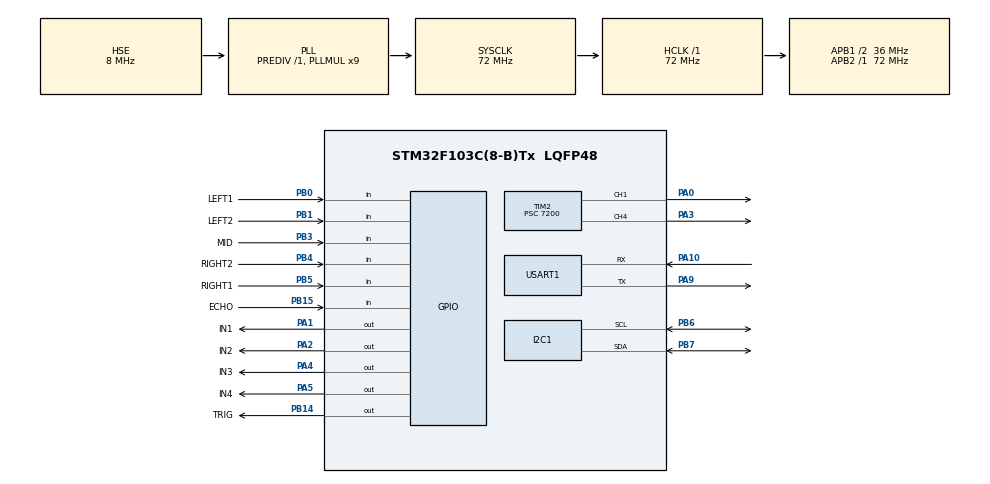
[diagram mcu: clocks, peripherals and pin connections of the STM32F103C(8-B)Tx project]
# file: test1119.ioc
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Mcu.Family=STM32F1
Mcu.Name=STM32F103C(8-B)Tx
Mcu.Package=LQFP48
NVIC.PriorityGroup=NVIC_PRIORITYGROUP_4
NVIC.USART1_IRQn=true\:0\:0\:false\:false\:true\:true\:true
PA0-WKUP.Signal=S_TIM2_CH1_ETR
PA1.GPIO_Label=IN1
PA1.GPIO_Speed=GPIO_SPEED_FREQ_HIGH
PA1.PinState=GPIO_PIN_SET
PA1.Signal=GPIO_Output
PA10.Mode=Asynchronous
PA10.Signal=USART1_RX
PA13.Mode=Serial_Wire
PA13.Signal=SYS_JTMS-SWDIO
PA14.Mode=Serial_Wire
PA14.Signal=SYS_JTCK-SWCLK
PA2.GPIO_Label=IN2
PA2.GPIO_Speed=GPIO_SPEED_FREQ_HIGH
PA2.Signal=GPIO_Output
PA3.Signal=S_TIM2_CH4
PA4.GPIO_Label=IN3
PA4.GPIO_Speed=GPIO_SPEED_FREQ_HIGH
PA4.PinState=GPIO_PIN_SET
PA4.Signal=GPIO_Output
PA5.GPIO_Label=IN4
PA5.GPIO_Speed=GPIO_SPEED_FREQ_HIGH
PA5.Signal=GPIO_Output
PA9.Mode=Asynchronous
PA9.Signal=USART1_TX
PB0.GPIO_Label=LEFT1
PB0.GPIO_PuPd=GPIO_PULLDOWN
PB0.Signal=GPIO_Input
PB1.GPIO_Label=LEFT2
PB1.GPIO_PuPd=GPIO_PULLDOWN
PB1.Signal=GPIO_Input
PB14.GPIO_Label=TRIG
PB14.Signal=GPIO_Output
PB15.GPIO_Label=ECHO
PB15.Signal=GPIO_Input
PB3.GPIO_Label=MID
PB3.GPIO_PuPd=GPIO_PULLDOWN
PB3.Signal=GPIO_Input
PB4.GPIO_Label=RIGHT2
PB4.GPIO_PuPd=GPIO_PULLDOWN
PB4.Signal=GPIO_Input
PB5.GPIO_Label=RIGHT1
PB5.GPIO_PuPd=GPIO_PULLDOWN
PB5.Signal=GPIO_Input
PB6.Mode=I2C
PB6.Signal=I2C1_SCL
PB7.Mode=I2C
PB7.Signal=I2C1_SDA
PC14-OSC32_IN.Mode=LSE-External-Oscillator
PC14-OSC32_IN.Signal=RCC_OSC32_IN
PC15-OSC32_OUT.Mode=LSE-External-Oscillator
PC15-OSC32_OUT.Signal=RCC_OSC32_OUT
PD0-OSC_IN.Mode=HSE-External-Oscillator
PD0-OSC_IN.Signal=RCC_OSC_IN
PD1-OSC_OUT.Mode=HSE-External-Oscillator
PD1-OSC_OUT.Signal=RCC_OSC_OUT
ProjectManager.HeapSize=0x200
ProjectManager.StackSize=0x400
ProjectManager.TargetToolchain=MDK-ARM V5
RCC.AHBFreq_Value=72000000
RCC.APB1CLKDivider=RCC_HCLK_DIV2
RCC.APB1Freq_Value=36000000
RCC.APB1TimFreq_Value=72000000
RCC.APB2Freq_Value=72000000
RCC.APB2TimFreq_Value=72000000
RCC.HCLKFreq_Value=72000000
RCC.PLLMUL=RCC_PLL_MUL9
RCC.PLLSourceVirtual=RCC_PLLSOURCE_HSE
RCC.SYSCLKFreq_VALUE=72000000
RCC.SYSCLKSource=RCC_SYSCLKSOURCE_PLLCLK
RCC.USBFreq_Value=72000000
SH.S_TIM2_CH1_ETR.0=TIM2_CH1,PWM Generation1 CH1
SH.S_TIM2_CH4.0=TIM2_CH4,PWM Generation4 CH4
TIM1.Period=10000-1
TIM1.Prescaler=7200
TIM2.Channel-PWM\ Generation1\ CH1=TIM_CHANNEL_1
TIM2.Channel-PWM\ Generation4\ CH4=TIM_CHANNEL_4
TIM2.Period=10000-1
TIM2.Prescaler=7200
USART1.VirtualMode=VM_ASYNC
VP_TIM1_VS_ClockSourceINT.Mode=Internal
VP_TIM2_VS_ClockSourceINT.Mode=Internal
board=custom

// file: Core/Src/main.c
/* USER CODE BEGIN Header */
/**
  ******************************************************************************
  * @file           : main.c
  * @brief          : Main program body
  ******************************************************************************
  * @attention
  *
  * <h2><center>&copy; Copyright (c) 2025 STMicroelectronics.
  * All rights reserved.</center></h2>
  *
  * This software component is licensed by ST under BSD 3-Clause license,
  * the "License"; You may not use this file except in compliance with the
  * License. You may obtain a copy of the License at:
  *                        opensource.org/licenses/BSD-3-Clause
  *
  * stm32f103_car_v1.0智能小车，连接了两个L298N、两个电机、一个超声波模块、五个红外模块、一个蓝牙模块、一块四线OLED屏幕。
  * 拥有超声波避障、循迹寻线、OLED显示等功能。
  *
  * 硬件连接：
  * - PA0、PA3: L298N驱动模块的PWM输入端(INA/INB)
  * - PA1、PA2、PA4、PA5: L298N驱动模块的输入端(IN1/IN2/IN3/IN4)
  * - PB0、PB1、PB3、PB4、PB5: 红外循迹传感器(左外/左内/中间/右内/右外)
  * - PB14、PB15: 超声波模块(TRIG/ECHO)
  * - PB6、PB7: OLED屏幕(SCL/SDA)
  * - PA9、PA10: 蓝牙模块HC-05(TX/RX)

  *
  ******************************************************************************
  */
/* USER CODE END Header */
#include "main.h"
#include "i2c.h"
#include "tim.h"
#include "usart.h"
#include "gpio.h"

/* USER CODE BEGIN Includes */
#include "oled.h"
#include <string.h>
#include <stdio.h>
/* USER CODE END Includes */

/* USER CODE BEGIN PTD */
// PID控制器结构体（添加积分项）
typedef struct{
	float Kp;           // 比例系数
	float Ki;           // 积分系数
	float Kd;           // 微分系数
	int error;          // 当前误差
	int last_error;     // 上次误差
	float integral;     // 误差积分
	int output;         // PID输出
}PID_Controller;

// 运行模式枚举
typedef enum{
	MODE_STOP = 0,      // 停止模式
	MODE_LINE_TRACK,    // 循迹模式（含自动避障）
	MODE_MANUAL,        // 手动模式（蓝牙控制）
	MODE_AVOID          // 避障模式（独立使用，已集成至循迹模式）
}RunMode;

// 运动方向枚举
typedef enum {
	DIR_STOP = 0,
	DIR_FORWARD,
	DIR_BACKWARD,
	DIR_LEFT,
	DIR_RIGHT
} Direction;

// 车速等级枚举
typedef enum {
	SPEED_SLOW = 0,    // 慢速
	SPEED_MEDIUM,      // 中速
	SPEED_FAST         // 快速
} SpeedLevel;

// 系统状态结构体
typedef struct {
	Direction direction;      // 当前运动方向
	SpeedLevel speed_level;   // 车速等级
	uint16_t station_count;   // 停靠站点数
	uint8_t countdown;        // 倒计时（秒）
	uint8_t is_stopped;       // 是否停靠中
} SystemStatus;
/* USER CODE END PTD */

/* USER CODE BEGIN PD */
// PWM占空比定义（0-9999）
#define PWM_SPEED_MAX    4300   // 最大速度：43%

// 循迹基础速度
#define BASE_SPEED       3500   // 循迹基础速度：35%

// PID参数（根据STM32 PWM范围调整）
#define KP               45.0f  // 比例系数（调整为适合0-9999范围）
#define KI               0.05f  // 积分系数（小值，避免积分饱和）
#define KD               30.0f  // 微分系数（增大以抑制震荡）

// 积分限幅（防止积分饱和）
#define INTEGRAL_MAX     200.0f

// 红外传感器权重（根据STM32 PWM范围调整）
// 权重需要与PWM范围匹配，使得调整量在合理范围内
// 左外(-800) 左内(-80) 中间(0) 右内(80) 右外(800)
#define WEIGHT_LEFT_OUT  -220
#define WEIGHT_LEFT_IN   -200
#define WEIGHT_MID        0
#define WEIGHT_RIGHT_IN   200
#define WEIGHT_RIGHT_OUT  220

// 超声波测距参数
#define ULTRASONIC_TIMEOUT  30000   // 超时时间（微秒）：对应最大距离约5米
#define SOUND_SPEED         0.034f  // 声速：0.034 cm/us (340m/s)

// 避障参数
#define SAFE_DISTANCE       10.0f   // 安全距离（cm）
#define TURN_90_TIME        600     // 90度转向时间（ms）
#define FORWARD_TIME        1000    // 避障前进时间（ms）
#define MAX_AVOID_DEPTH     3       // 最大递归避障次数
/* USER CODE END PD */

/* USER CODE BEGIN PV */
// PID控制器实例
PID_Controller pid = {KP, KI, KD, 0, 0, 0.0f, 0};

// 运行模式
RunMode current_mode = MODE_LINE_TRACK;  // 默认循迹模式

// 蓝牙接收缓冲区
uint8_t bt_rx_buffer[1];
uint8_t bt_command = 0;

// 多字符命令缓冲区（用于接收STxx等命令）
#define CMD_BUFFER_SIZE 10
char cmd_buffer[CMD_BUFFER_SIZE];
uint8_t cmd_index = 0;
uint32_t last_rx_time = 0;

// 超声波测距变量
float ultrasonic_distance = 0.0f;  // 当前测量距离（cm）

// 避障状态变量
uint8_t is_avoiding = 0;           // 是否正在避障
uint8_t avoid_depth = 0;           // 当前避障递归深度

// 系统状态实例
SystemStatus sys_status = {DIR_STOP, SPEED_MEDIUM, 0, 0, 0};

// 站点停靠时间（秒），可通过上位机设置
uint8_t stop_time_seconds = 10;
/* USER CODE END PV */

void SystemClock_Config(void);
/* USER CODE BEGIN PFP */
// 电机控制函数
void Motor_Stop(void);
void Motor_Forward(uint16_t speed);
void Motor_Backward(uint16_t speed);
void Motor_TurnLeft(uint16_t speed);
void Motor_TurnRight(uint16_t speed);
void Motor_DifferentialSpeed(int16_t left_speed, int16_t right_speed);

// 红外传感器读取函数
int8_t Read_IR_Sensors(void);
int Calculate_Error(void);

// PID控制函数（添加积分项）
void PID_Init(PID_Controller *pid, float kp, float ki, float kd);
int PID_Calculate(PID_Controller *pid, int error);
void Line_Tracking_PID(void);

// 站点停靠函数（已废弃，使用Station_Stop_With_Countdown代替）
// void Station_Stop(uint8_t stop_seconds);

// 蓝牙控制函数
void Bluetooth_Init(void);
void Bluetooth_Process(void);
void Process_Multi_Char_Command(void);
void HAL_UART_RxCpltCallback(UART_HandleTypeDef *huart);

// 超声波测距函数
float Ultrasonic_GetDistance(void);
void Ultrasonic_SendDebugInfo(void);

// 串口发送函数
void UART_SendString(const char *str);

// OLED显示函数
void OLED_UpdateStatus(void);
uint16_t Get_Speed_Percent(SpeedLevel level);
uint16_t Get_Speed_Value(SpeedLevel level);
void Station_Stop_With_Countdown(uint8_t stop_time);

// 避障函数
uint8_t Execute_Avoidance_Maneuver(void);
void Line_Tracking_With_Avoidance(void);
/* USER CODE END PFP */

/* USER CODE BEGIN 0 */

/**
  * @brief  停止电机
  * @retval None
  */
void Motor_Stop(void)
{
	// 停止PWM输出
	__HAL_TIM_SET_COMPARE(&htim2, TIM_CHANNEL_1, 0);
	__HAL_TIM_SET_COMPARE(&htim2, TIM_CHANNEL_4, 0);

	// 所有方向控制引脚设为低电平
	HAL_GPIO_WritePin(GPIOA, IN1_Pin, GPIO_PIN_RESET);
	HAL_GPIO_WritePin(GPIOA, IN2_Pin, GPIO_PIN_RESET);
	HAL_GPIO_WritePin(GPIOA, IN3_Pin, GPIO_PIN_RESET);
	HAL_GPIO_WritePin(GPIOA, IN4_Pin, GPIO_PIN_RESET);

	// 更新状态
	sys_status.direction = DIR_STOP;
}

/**
  * @brief  前进
  * @param  speed: PWM占空比 (0-9999)
  * @retval None
  */
void Motor_Forward(uint16_t speed)
{
	// 左电机正转：IN1=1, IN2=0
	HAL_GPIO_WritePin(GPIOA, IN1_Pin, GPIO_PIN_SET);
	HAL_GPIO_WritePin(GPIOA, IN2_Pin, GPIO_PIN_RESET);

	// 右电机正转：IN3=1, IN4=0
	HAL_GPIO_WritePin(GPIOA, IN3_Pin, GPIO_PIN_SET);
	HAL_GPIO_WritePin(GPIOA, IN4_Pin, GPIO_PIN_RESET);

	// 设置PWM占空比
	__HAL_TIM_SET_COMPARE(&htim2, TIM_CHANNEL_1, speed);
	__HAL_TIM_SET_COMPARE(&htim2, TIM_CHANNEL_4, speed);

	// 更新状态
	sys_status.direction = DIR_FORWARD;
}

/**
  * @brief  后退
  * @param  speed: PWM占空比 (0-9999)
  * @retval None
  */
void Motor_Backward(uint16_t speed)
{
	// 左电机反转：IN1=0, IN2=1
	HAL_GPIO_WritePin(GPIOA, IN1_Pin, GPIO_PIN_RESET);
	HAL_GPIO_WritePin(GPIOA, IN2_Pin, GPIO_PIN_SET);

	// 右电机反转：IN3=0, IN4=1
	HAL_GPIO_WritePin(GPIOA, IN3_Pin, GPIO_PIN_RESET);
	HAL_GPIO_WritePin(GPIOA, IN4_Pin, GPIO_PIN_SET);

	// 设置PWM占空比
	__HAL_TIM_SET_COMPARE(&htim2, TIM_CHANNEL_1, speed);
	__HAL_TIM_SET_COMPARE(&htim2, TIM_CHANNEL_4, speed);

	// 更新状态
	sys_status.direction = DIR_BACKWARD;
}

/**
  * @brief  左转（原地）
  * @param  speed: PWM占空比 (0-9999)
  * @retval None
  */
void Motor_TurnLeft(uint16_t speed)
{
	// 左电机反转：IN1=0, IN2=1
	HAL_GPIO_WritePin(GPIOA, IN1_Pin, GPIO_PIN_RESET);
	HAL_GPIO_WritePin(GPIOA, IN2_Pin, GPIO_PIN_SET);

	// 右电机正转：IN3=1, IN4=0
	HAL_GPIO_WritePin(GPIOA, IN3_Pin, GPIO_PIN_SET);
	HAL_GPIO_WritePin(GPIOA, IN4_Pin, GPIO_PIN_RESET);

	// 设置PWM占空比
	__HAL_TIM_SET_COMPARE(&htim2, TIM_CHANNEL_1, speed);
	__HAL_TIM_SET_COMPARE(&htim2, TIM_CHANNEL_4, speed);

	// 更新状态
	sys_status.direction = DIR_LEFT;
}

/**
  * @brief  右转（原地）
  * @param  speed: PWM占空比 (0-9999)
  * @retval None
  */
void Motor_TurnRight(uint16_t speed)
{
	// 左电机正转：IN1=1, IN2=0
	HAL_GPIO_WritePin(GPIOA, IN1_Pin, GPIO_PIN_SET);
	HAL_GPIO_WritePin(GPIOA, IN2_Pin, GPIO_PIN_RESET);

	// 右电机反转：IN3=0, IN4=1
	HAL_GPIO_WritePin(GPIOA, IN3_Pin, GPIO_PIN_RESET);
	HAL_GPIO_WritePin(GPIOA, IN4_Pin, GPIO_PIN_SET);

	// 设置PWM占空比
	__HAL_TIM_SET_COMPARE(&htim2, TIM_CHANNEL_1, speed);
	__HAL_TIM_SET_COMPARE(&htim2, TIM_CHANNEL_4, speed);

	// 更新状态
	sys_status.direction = DIR_RIGHT;
}

/**
  * @brief  差速控制（左右电机不同速度）
  * @param  left_speed: 左电机速度 (-9999 ~ 9999，负数为反转)
  * @param  right_speed: 右电机速度 (-9999 ~ 9999，负数为反转)
  * @retval None
  */
void Motor_DifferentialSpeed(int16_t left_speed, int16_t right_speed)
{
	// 限幅
	if(left_speed > PWM_SPEED_MAX) left_speed = PWM_SPEED_MAX;
	if(left_speed < -PWM_SPEED_MAX) left_speed = -PWM_SPEED_MAX;
	if(right_speed > PWM_SPEED_MAX) right_speed = PWM_SPEED_MAX;
	if(right_speed < -PWM_SPEED_MAX) right_speed = -PWM_SPEED_MAX;

	// 左电机方向控制
	if(left_speed >= 0)
	{
		// 正转
		HAL_GPIO_WritePin(GPIOA, IN1_Pin, GPIO_PIN_SET);
		HAL_GPIO_WritePin(GPIOA, IN2_Pin, GPIO_PIN_RESET);
		__HAL_TIM_SET_COMPARE(&htim2, TIM_CHANNEL_1, left_speed);
	}
	else
	{
		// 反转
		HAL_GPIO_WritePin(GPIOA, IN1_Pin, GPIO_PIN_RESET);
		HAL_GPIO_WritePin(GPIOA, IN2_Pin, GPIO_PIN_SET);
		__HAL_TIM_SET_COMPARE(&htim2, TIM_CHANNEL_1, -left_speed);
	}

	// 右电机方向控制
	if(right_speed >= 0)
	{
		// 正转
		HAL_GPIO_WritePin(GPIOA, IN3_Pin, GPIO_PIN_SET);
		HAL_GPIO_WritePin(GPIOA, IN4_Pin, GPIO_PIN_RESET);
		__HAL_TIM_SET_COMPARE(&htim2, TIM_CHANNEL_4, right_speed);
	}
	else
	{
		// 反转
		HAL_GPIO_WritePin(GPIOA, IN3_Pin, GPIO_PIN_RESET);
		HAL_GPIO_WritePin(GPIOA, IN4_Pin, GPIO_PIN_SET);
		__HAL_TIM_SET_COMPARE(&htim2, TIM_CHANNEL_4, -right_speed);
	}
}

/**
  * @brief  读取红外传感器状态
  * @retval 传感器状态（5位二进制，1表示检测到黑线，0表示白色）
  *         bit4: 左外, bit3: 左内, bit2: 中间, bit1: 右内, bit0: 右外
  */
int8_t Read_IR_Sensors(void)
{
	int8_t sensor_value = 0;

	// 读取五个红外传感器（标准逻辑：黑线=高电平，白色=低电平）
	if(HAL_GPIO_ReadPin(GPIOB, LEFT1_Pin) == GPIO_PIN_SET)  // 左外 PB0
		sensor_value |= 0x10;

	if(HAL_GPIO_ReadPin(GPIOB, LEFT2_Pin) == GPIO_PIN_SET)  // 左内 PB1
		sensor_value |= 0x08;

	if(HAL_GPIO_ReadPin(GPIOB, MID_Pin) == GPIO_PIN_SET)    // 中间 PB3
		sensor_value |= 0x04;

	if(HAL_GPIO_ReadPin(GPIOB, RIGHT2_Pin) == GPIO_PIN_SET) // 右内 PB4
		sensor_value |= 0x02;

	if(HAL_GPIO_ReadPin(GPIOB, RIGHT1_Pin) == GPIO_PIN_SET) // 右外 PB5
		sensor_value |= 0x01;

	return sensor_value;
}

/**
  * @brief  计算位置误差（加权法，根据STM32 PWM范围调整）
  * @retval 位置误差（负数=偏左，正数=偏右）
  */
int Calculate_Error(void)
{
	int8_t sensors = Read_IR_Sensors();
	int error = 0;

	// 使用加权策略计算误差（权重已调整为适合0-9999 PWM范围）
	if(sensors & 0x10) error += WEIGHT_LEFT_OUT;   // 左外 -800
	if(sensors & 0x08) error += WEIGHT_LEFT_IN;    // 左内 -400
	if(sensors & 0x04) error += WEIGHT_MID;        // 中间  0
	if(sensors & 0x02) error += WEIGHT_RIGHT_IN;   // 右内 +400
	if(sensors & 0x01) error += WEIGHT_RIGHT_OUT;  // 右外 +800

	return error;
}

/**
  * @brief  初始化PID控制器
  * @param  pid: PID控制器指针
  * @param  kp: 比例系数
  * @param  ki: 积分系数
  * @param  kd: 微分系数
  * @retval None
  */
void PID_Init(PID_Controller *pid, float kp, float ki, float kd)
{
	pid->Kp = kp;
	pid->Ki = ki;
	pid->Kd = kd;
	pid->error = 0;
	pid->last_error = 0;
	pid->integral = 0.0f;
	pid->output = 0;
}

/**
  * @brief  PID计算（添加积分项和抗饱和机制）
  * @param  pid: PID控制器指针
  * @param  error: 当前误差
  * @retval PID输出值
  */
int PID_Calculate(PID_Controller *pid, int error)
{
	// 保存当前误差
	pid->error = error;

	// 误差接近0时，清空积分（防止积分累积）
	if(error > -10 && error < 10)
	{
		pid->integral *= 0.5f;  // 快速衰减积分
	}
	else
	{
		// 计算积分项（带限幅，防止积分饱和）
		pid->integral += (float)error;
		if(pid->integral > INTEGRAL_MAX) pid->integral = INTEGRAL_MAX;
		if(pid->integral < -INTEGRAL_MAX) pid->integral = -INTEGRAL_MAX;
	}

	// PID计算：output = Kp*error + Ki*integral + Kd*(error - last_error)
	pid->output = (int)(pid->Kp * pid->error +
	                    pid->Ki * pid->integral +
	                    pid->Kd * (pid->error - pid->last_error));

	// 保存误差用于下次计算
	pid->last_error = error;

	return pid->output;
}

/**
  * @brief  执行避障机动（右转90度→斜向前进→回归循迹）
  * @retval 1=需要继续避障, 0=可以返回循迹
  */
uint8_t Execute_Avoidance_Maneuver(void)
{
	uint16_t speed = Get_Speed_Value(sys_status.speed_level);

	// 上报避障开始
	char buffer[50];
	sprintf(buffer, "AVOID:START,DEPTH=%d\r\n", avoid_depth);
	UART_SendString(buffer);

	// 1. 右转90度，绕过障碍物
	Motor_TurnRight(3000);
	sys_status.direction = DIR_RIGHT;
	OLED_UpdateStatus();
	HAL_Delay(TURN_90_TIME);

	// 2. 斜向前进（左速<右速，实现左偏），等待检测到轨道
	while (Read_IR_Sensors() == 0) {
		// 如果前方距离仍然不安全，继续右转
		if(ultrasonic_distance > 0 && ultrasonic_distance < SAFE_DISTANCE)
		{
			Motor_TurnRight(6000);
			sys_status.direction = DIR_RIGHT;
			OLED_UpdateStatus();
			HAL_Delay(TURN_90_TIME);
		}

		// 左电机慢、右电机快，实现斜向左前进
		Motor_DifferentialSpeed(2000, 3000);
	}

	// 3. 回归循迹（已检测到轨道）
	Line_Tracking_PID();

	// 4. 停止并测距
	Motor_Stop();
	HAL_Delay(100);  // 稳定一下

	// 5. 测量新距离
	ultrasonic_distance = Ultrasonic_GetDistance();

	// 6. 判断是否需要继续避障
	if(ultrasonic_distance > 0 && ultrasonic_distance < SAFE_DISTANCE)
	{
		// 距离仍然不安全
		sprintf(buffer, "AVOID:CONTINUE,DIST=%.1f\r\n", ultrasonic_distance);
		UART_SendString(buffer);
		return 1;  // 需要继续避障
	}
	else
	{
		sprintf(buffer, "AVOID:END,DIST=%.1f\r\n", ultrasonic_distance);
		UART_SendString(buffer);
		return 0;  // 返回循迹
	}
}

/**
  * @brief  带避障功能的循迹控制
  * @retval None
  */
void Line_Tracking_With_Avoidance(void)
{
	// 检查是否需要避障（距离小于安全值）
	if(ultrasonic_distance > 0 && ultrasonic_distance < SAFE_DISTANCE && !is_avoiding)
	{
		// 触发避障
		is_avoiding = 1;
		avoid_depth = 0;

		// 停止当前运动
		Motor_Stop();
		HAL_Delay(200);

		// 递归避障，直到安全或达到最大次数
		while(avoid_depth < MAX_AVOID_DEPTH)
		{
			avoid_depth++;

			// 执行避障机动
			uint8_t need_continue = Execute_Avoidance_Maneuver();

			if(!need_continue)
			{
				// 安全了，退出避障
				break;
			}

			// 如果达到最大深度，强制退出
			if(avoid_depth >= MAX_AVOID_DEPTH)
			{
				UART_SendString("AVOID:MAX_DEPTH_REACHED\r\n");
				break;
			}
		}

		// 避障结束，清空PID积分
		pid.integral = 0.0f;
		pid.last_error = 0;

		// 恢复循迹状态
		is_avoiding = 0;
		avoid_depth = 0;

		return;
	}

	// 正常循迹（调用原有的PID循迹函数）
	Line_Tracking_PID();
}

/**
  * @brief  基于PID的循迹控制（添加积分项，优化全白/全黑处理，支持站点停靠，反向清零逻辑）
  * @retval None
  */
void Line_Tracking_PID(void)
{
	int8_t sensors = Read_IR_Sensors();

	// 检测全黑（站点）：停靠指定时间并显示倒计时
	if(sensors == 0x1F)  // 0b11111
	{
		Motor_Stop();
		Motor_Forward(3000);
		HAL_Delay(400);  // 稳定一下
		if (Read_IR_Sensors() == 0x1F) {
		Station_Stop_With_Countdown(stop_time_seconds);  // 使用设置的停靠时间
		}

		return;
	}

	// 检测全白（脱离轨道）：保持上次方向继续运行
	if(sensors == 0x00)  // 0b00000
	{
		// 使用上次的误差继续运行，保持转向
		// 不更新积分项，避免积分发散
		int motor_adjust = (int)(pid.Kp * pid.last_error);

		uint16_t base_speed = Get_Speed_Value(sys_status.speed_level);
		int16_t left_speed = base_speed + motor_adjust;
		int16_t right_speed = base_speed - motor_adjust;

		// 限幅（允许反转）
		if(left_speed > PWM_SPEED_MAX) left_speed = PWM_SPEED_MAX;
		if(left_speed < -PWM_SPEED_MAX) left_speed = -PWM_SPEED_MAX;
		if(right_speed > PWM_SPEED_MAX) right_speed = PWM_SPEED_MAX;
		if(right_speed < -PWM_SPEED_MAX) right_speed = -PWM_SPEED_MAX;

		Motor_DifferentialSpeed(left_speed, right_speed);
		sys_status.direction = DIR_FORWARD;
		return;
	}

	// 正常循迹：计算误差（加权法）
	int error = Calculate_Error();

	// 反向清零逻辑：减少抖动
	// 当小车左转时（上次误差<0），如果右侧传感器检测到黑线，说明已回到轨道，清零误差
	// 当小车右转时（上次误差>0），如果左侧传感器检测到黑线，说明已回到轨道，清零误差
	if(pid.last_error < -20)  // 上次是左转（偏左）
	{
		// 检查右侧传感器（右内或右外）是否检测到黑线
		if(HAL_GPIO_ReadPin(GPIOB, RIGHT2_Pin) == GPIO_PIN_SET || HAL_GPIO_ReadPin(GPIOB, RIGHT1_Pin) == GPIO_PIN_SET)  // 右内(bit1)或右外(bit0)
		{
			// 右侧检测到黑线，说明已经回到轨道，清零误差和积分
			error = 0;
			pid.integral = 0.0f;
			pid.last_error = 0;
		}
	}
	else if(pid.last_error > 20)  // 上次是右转（偏右）
	{
		// 检查左侧传感器（左内或左外）是否检测到黑线
		if(HAL_GPIO_ReadPin(GPIOB, LEFT2_Pin) == GPIO_PIN_SET|| HAL_GPIO_ReadPin(GPIOB, LEFT1_Pin) == GPIO_PIN_SET)  // 左内(bit3)或左外(bit4)
		{
			// 左侧检测到黑线，说明已经回到轨道，清零误差和积分
			error = 0;
			pid.integral = 0.0f;
			pid.last_error = 0;
		}
	}

	// PID计算
	int motor_adjust = PID_Calculate(&pid, error);

	// 根据PID输出调整左右电机速度
	uint16_t base_speed = Get_Speed_Value(sys_status.speed_level);
	int16_t left_speed = base_speed + motor_adjust;
	int16_t right_speed = base_speed - motor_adjust;

	// 限幅（允许反转，实现原地转向）
	if(left_speed > PWM_SPEED_MAX) left_speed = PWM_SPEED_MAX;
	if(left_speed < -PWM_SPEED_MAX) left_speed = -PWM_SPEED_MAX;
	if(right_speed > PWM_SPEED_MAX) right_speed = PWM_SPEED_MAX;
	if(right_speed < -PWM_SPEED_MAX) right_speed = -PWM_SPEED_MAX;

	// 差速控制
	Motor_DifferentialSpeed(left_speed, right_speed);

	// 更新运动方向
	if(error < -20) sys_status.direction = DIR_LEFT;
	else if(error > 20) sys_status.direction = DIR_RIGHT;
	else sys_status.direction = DIR_FORWARD;
}

/**
  * @brief  微秒级延时函数（使用TIM1）
  * @param  us: 延时微秒数
  * @retval None
  */
void delay_us(uint32_t us)
{
	__HAL_TIM_SET_COUNTER(&htim1, 0);  // 设置计数器值为0
	while(__HAL_TIM_GET_COUNTER(&htim1) < us);  // 等待计数器达到us
}

/**
  * @brief  超声波测距函数
  * @retval 距离（cm），如果超时返回-1
  */
float Ultrasonic_GetDistance(void)
{
	uint32_t echo_time = 0;
	uint32_t timeout = 0;

	// 1. 发送10us的触发脉冲
	HAL_GPIO_WritePin(TRIG_GPIO_Port, TRIG_Pin, GPIO_PIN_RESET);
	delay_us(2);
	HAL_GPIO_WritePin(TRIG_GPIO_Port, TRIG_Pin, GPIO_PIN_SET);
	delay_us(10);
	HAL_GPIO_WritePin(TRIG_GPIO_Port, TRIG_Pin, GPIO_PIN_RESET);

	// 2. 等待ECHO引脚变为高电平（超时保护）
	timeout = ULTRASONIC_TIMEOUT;
	while(HAL_GPIO_ReadPin(ECHO_GPIO_Port, ECHO_Pin) == GPIO_PIN_RESET)
	{
		if(--timeout == 0) return -1.0f;  // 超时
	}

	// 3. 开始计时（ECHO高电平持续时间）
	__HAL_TIM_SET_COUNTER(&htim1, 0);

	// 4. 等待ECHO引脚变为低电平（超时保护）
	timeout = ULTRASONIC_TIMEOUT;
	while(HAL_GPIO_ReadPin(ECHO_GPIO_Port, ECHO_Pin) == GPIO_PIN_SET)
	{
		if(--timeout == 0) return -1.0f;  // 超时
		if(__HAL_TIM_GET_COUNTER(&htim1) > ULTRASONIC_TIMEOUT) return -1.0f;  // 超时
	}

	// 5. 读取计时器值
	echo_time = __HAL_TIM_GET_COUNTER(&htim1);

	// 6. 计算距离：distance = (echo_time * sound_speed) / 2
	// echo_time单位：微秒，sound_speed = 0.034 cm/us
	// 除以2是因为声波往返
	float distance = (echo_time * SOUND_SPEED) / 2.0f;

	return distance;
}

/**
  * @brief  串口发送字符串
  * @param  str: 要发送的字符串
  * @retval None
  */
void UART_SendString(const char *str)
{
	HAL_UART_Transmit(&huart1, (uint8_t*)str, strlen(str), 1000);
}

/**
  * @brief  发送超声波调试信息到串口
  * @retval None
  */
void Ultrasonic_SendDebugInfo(void)
{
	char buffer[100];

	// 测量距离
	ultrasonic_distance = Ultrasonic_GetDistance();

	// 格式化输出
	if(ultrasonic_distance < 0)
	{
		sprintf(buffer, "Distance: ERROR (Timeout)\r\n");
	}
	else
	{
		sprintf(buffer, "Distance: %.2f cm\r\n", ultrasonic_distance);
	}

	// 发送到串口
	UART_SendString(buffer);
}

/**
  * @brief  获取速度百分比
  * @param  level: 速度等级
  * @retval 速度百分比
  */
uint16_t Get_Speed_Percent(SpeedLevel level)
{
	switch(level)
	{
		case SPEED_SLOW:   return 30;
		case SPEED_MEDIUM: return 35;
		case SPEED_FAST:   return 40;
		default:           return 0;
	}
}

/**
  * @brief  获取速度值
  * @param  level: 速度等级
  * @retval PWM速度值
  */
uint16_t Get_Speed_Value(SpeedLevel level)
{
	switch(level)
	{
		case SPEED_SLOW:   return 3000;    // 30%
		case SPEED_MEDIUM: return 3500;    // 35%
		case SPEED_FAST:   return 4500;    // 45%
		default:           return 0;
	}
}

/**
  * @brief  更新OLED显示状态
  * @retval None
  */
void OLED_UpdateStatus(void)
{
	OLED_NewFrame();
	char buffer[32];

	// 第1行：运动方向
	const char* dir_str[] = {"STOP", "FORWARD", "BACK", "LEFT", "RIGHT"};
	sprintf(buffer, "Dir: %s", dir_str[sys_status.direction]);
	OLED_PrintASCIIString(0, 0, buffer, &afont8x6, OLED_COLOR_NORMAL);

	// 第2行：车速等级
	const char* speed_str[] = {"SLOW", "MID", "FAST"};
	uint16_t speed_percent = Get_Speed_Percent(sys_status.speed_level);
	sprintf(buffer, "Speed:%s %d%%", speed_str[sys_status.speed_level], speed_percent);
	OLED_PrintASCIIString(0, 16, buffer, &afont8x6, OLED_COLOR_NORMAL);

	// 第3行：站点数量
	sprintf(buffer, "Stations: %d", sys_status.station_count);
	OLED_PrintASCIIString(0, 32, buffer, &afont8x6, OLED_COLOR_NORMAL);

	// 第4行：倒计时（仅停靠时显示）
	if(sys_status.is_stopped)
	{
		sprintf(buffer, "Countdown: %ds", sys_status.countdown);
		OLED_PrintASCIIString(0, 48, buffer, &afont8x6, OLED_COLOR_NORMAL);
	}
	else if(is_avoiding)
	{
		// 显示避障状态
		sprintf(buffer, "AVOID D=%d", avoid_depth);
		OLED_PrintASCIIString(0, 48, buffer, &afont8x6, OLED_COLOR_NORMAL);
	}
	else
	{
		// 显示超声波距离
		if(ultrasonic_distance > 0)
		{
			sprintf(buffer, "Dist: %.1fcm", ultrasonic_distance);
			OLED_PrintASCIIString(0, 48, buffer, &afont8x6, OLED_COLOR_NORMAL);
		}
	}

	OLED_ShowFrame();
}

/**
  * @brief  站点停靠（带倒计时）
  * @param  stop_time: 停靠时间（秒）
  * @retval None
  */
void Station_Stop_With_Countdown(uint8_t stop_time)
{
	Motor_Stop();
	sys_status.is_stopped = 1;
	sys_status.station_count++;  // 站点数+1
	sys_status.direction = DIR_STOP;

	// 上报停靠状态
	char buffer[64];
	sprintf(buffer, "STATUS=STOP,STATION=%d,COUNTDOWN=%d\r\n",sys_status.station_count,stop_time);
	UART_SendString(buffer);

	// 倒计时
	for(uint8_t i = stop_time; i > 0; i--)
	{
		sys_status.countdown = i;

		sprintf(buffer,"STATUS=STOP,STATION=%d,COUNTDOWN=%d\r\n",sys_status.station_count,i);
    UART_SendString(buffer);

		OLED_UpdateStatus();  // 更新显示
		HAL_Delay(1000);  // 延时1秒
	}

	sys_status.is_stopped = 0;
	sys_status.countdown = 0;

	// 清空PID积分
	pid.integral = 0.0f;

	// 恢复前进
	sys_status.direction = DIR_FORWARD;
	Motor_Forward(3000);
	HAL_Delay(600);  // 稳定一下
	UART_SendString("STATUS=FORWARD\r\n");
}

/* USER CODE END 0 */

int main(void)
{

  /* MCU Configuration--------------------------------------------------------*/

  /* Reset of all peripherals, Initializes the Flash interface and the Systick. */
  HAL_Init();

  /* Configure the system clock */
  SystemClock_Config();

  /* Initialize all configured peripherals */
  MX_GPIO_Init();
  MX_TIM1_Init();
  MX_TIM2_Init();
  MX_USART1_UART_Init();
  MX_I2C1_Init();
  /* USER CODE BEGIN 2 */
	// 初始化OLED显示屏
	HAL_Delay(20);
	OLED_Init();

	// 显示启动信息
	OLED_NewFrame();
	OLED_PrintASCIIString(0, 0, "STM32 Car v1.2", &afont8x6, OLED_COLOR_NORMAL);
	OLED_PrintASCIIString(0, 16, "Initializing...", &afont8x6, OLED_COLOR_NORMAL);
	OLED_ShowFrame();

	// 禁用JTAG，释放PB3、PB4引脚作为普通GPIO
	// 保留SWD调试功能（PA13/PA14）
	__HAL_AFIO_REMAP_SWJ_NOJTAG();

	// 启动TIM1（用于超声波微秒延时�?
	HAL_TIM_Base_Start(&htim1);

	// 启动PWM输出
	HAL_TIM_PWM_Start(&htim2, TIM_CHANNEL_1);
	HAL_TIM_PWM_Start(&htim2, TIM_CHANNEL_4);

	// 初始化PID控制器（添加积分项）
	PID_Init(&pid, KP, KI, KD);

	// 初始化蓝牙模�?
	Bluetooth_Init();

	// 初始化电机为停止状�??
	Motor_Stop();

	// 短暂延时，等待系统稳�?
	HAL_Delay(500);

  /* USER CODE END 2 */

  /* Infinite loop */
  while (1)
  {

    /* USER CODE BEGIN 3 */

		// 处理蓝牙命令
		Bluetooth_Process();

		// 根据当前模式执行相应功能
		switch(current_mode)
		{
			case MODE_STOP:
				// 停止模式：什么都不做
				Motor_Stop();
				break;

			case MODE_LINE_TRACK:
				// 循迹模式：执行带避障的PID循迹控制
				Line_Tracking_With_Avoidance();
				break;

			case MODE_MANUAL:
				// 手动模式：由蓝牙命令控制，这里不需要额外处理
				break;

			case MODE_AVOID:
				// 避障模式：预留，暂时停止
				Motor_Stop();
				break;

			default:
				current_mode = MODE_STOP;
				break;
		}

		// 高频状态上报（每100ms，10Hz）
		static uint32_t last_report_time = 0;
		if(HAL_GetTick() - last_report_time >= 100)
		{
			last_report_time = HAL_GetTick();

			// 构建完整状态信息
			char status_buffer[80];
			sprintf(status_buffer, "STATUS:MODE=%d,DIR=%d,SPEED=%d,STATION=%d,DIST=%.1f\r\n",
			        current_mode,
			        sys_status.direction,
			        sys_status.speed_level,
			        sys_status.station_count,
			        ultrasonic_distance > 0 ? ultrasonic_distance : 0.0f);
			UART_SendString(status_buffer);
		}

		// OLED显示当前状态（每200ms刷新一次）
		static uint32_t last_oled_time = 0;
		if(HAL_GetTick() - last_oled_time >= 200)
		{
			last_oled_time = HAL_GetTick();
			OLED_UpdateStatus();
		}

		// 超声波测距（每500ms测一次）
		static uint32_t last_ultrasonic_time = 0;
		if(HAL_GetTick() - last_ultrasonic_time >= 500)
		{
			last_ultrasonic_time = HAL_GetTick();
			ultrasonic_distance = Ultrasonic_GetDistance();
		}

  }
  /* USER CODE END 3 */
}

void SystemClock_Config(void)
{
  RCC_OscInitTypeDef RCC_OscInitStruct = {0};
  RCC_ClkInitTypeDef RCC_ClkInitStruct = {0};

  /** Initializes the RCC Oscillators according to the specified parameters
  * in the RCC_OscInitTypeDef structure.
  */
  RCC_OscInitStruct.OscillatorType = RCC_OSCILLATORTYPE_HSE;
  RCC_OscInitStruct.HSEState = RCC_HSE_ON;
  RCC_OscInitStruct.HSEPredivValue = RCC_HSE_PREDIV_DIV1;
  RCC_OscInitStruct.HSIState = RCC_HSI_ON;
  RCC_OscInitStruct.PLL.PLLState = RCC_PLL_ON;
  RCC_OscInitStruct.PLL.PLLSource = RCC_PLLSOURCE_HSE;
  RCC_OscInitStruct.PLL.PLLMUL = RCC_PLL_MUL9;
  if (HAL_RCC_OscConfig(&RCC_OscInitStruct) != HAL_OK)
  {
    Error_Handler();
  }
  /** Initializes the CPU, AHB and APB buses clocks
  */
  RCC_ClkInitStruct.ClockType = RCC_CLOCKTYPE_HCLK|RCC_CLOCKTYPE_SYSCLK
                              |RCC_CLOCKTYPE_PCLK1|RCC_CLOCKTYPE_PCLK2;
  RCC_ClkInitStruct.SYSCLKSource = RCC_SYSCLKSOURCE_PLLCLK;
  RCC_ClkInitStruct.AHBCLKDivider = RCC_SYSCLK_DIV1;
  RCC_ClkInitStruct.APB1CLKDivider = RCC_HCLK_DIV2;
  RCC_ClkInitStruct.APB2CLKDivider = RCC_HCLK_DIV1;

  if (HAL_RCC_ClockConfig(&RCC_ClkInitStruct, FLASH_LATENCY_2) != HAL_OK)
  {
    Error_Handler();
  }
}

/* USER CODE BEGIN 4 */

/**
  * @brief  初始化蓝牙模�?
  * @retval None
  */
void Bluetooth_Init(void)
{
	// 启动UART接收中断
	HAL_UART_Receive_IT(&huart1, bt_rx_buffer, 1);
}

/**
  * @brief  处理多字符命令（如STxx）
  * @retval None
  */
void Process_Multi_Char_Command(void)
{
	// 检查是否是STxx命令（设置停靠时间）
	if(cmd_buffer[0] == 'S' && cmd_buffer[1] == 'T')
	{
		// 提取数字部分
		int time_value = 0;
		int i = 2;
		while(i < cmd_index && cmd_buffer[i] >= '0' && cmd_buffer[i] <= '9')
		{
			time_value = time_value * 10 + (cmd_buffer[i] - '0');
			i++;
		}

		// 设置停靠时间（范围：1-99秒）
		if(time_value >= 1 && time_value <= 99)
		{
			stop_time_seconds = time_value;
			char confirm[50];
			sprintf(confirm, "STOP_TIME_SET:%d\r\n", stop_time_seconds);
			UART_SendString(confirm);
		}
		else
		{
			UART_SendString("ERROR:INVALID_TIME_VALUE\r\n");
		}
	}
	// 可以在这里添加其他多字符命令的处理
	else
	{
		UART_SendString("ERROR:UNKNOWN_COMMAND\r\n");
	}

	// 清空命令缓冲区
	cmd_index = 0;
	memset(cmd_buffer, 0, CMD_BUFFER_SIZE);
}

/**
  * @brief  处理蓝牙命令
  * @retval None
  */
void Bluetooth_Process(void)
{
	if(bt_command == 0) return;  // 没有新命令

	uint8_t cmd = bt_command;
	bt_command = 0;  // 清除命令

	// 数字键0-9的处理（仅用于模式切换）
	if(cmd >= '0' && cmd <= '9')
	{
		// 切换模式前先停止电机，防止旧模式的状态带入新模式
		Motor_Stop();
		// 切换模式
		switch(cmd)
		{
			case '0':  // 停止模式
				current_mode = MODE_STOP;
				Motor_Stop();
				break;

			case '1':  // 循迹模式
				current_mode = MODE_LINE_TRACK;
				pid.integral = 0.0f;  // 清空积分
				break;

			case '2':  // 手动模式
				current_mode = MODE_MANUAL;
				break;
		}
		return;  // 处理完数字键后直接返回
	}

	// 其他命令处理
	switch(cmd)
	{
		// 手动控制（仅在手动模式下有效）
		case 'F':  // 前进
		case 'f':
			if(current_mode == MODE_MANUAL)
				Motor_Forward(Get_Speed_Value(sys_status.speed_level));
			break;

		case 'B':  // 后退
		case 'b':
			if(current_mode == MODE_MANUAL)
				Motor_Backward(Get_Speed_Value(sys_status.speed_level));
			break;

		case 'L':  // 左转
		case 'l':
			if(current_mode == MODE_MANUAL)
				Motor_TurnLeft(Get_Speed_Value(sys_status.speed_level));
			break;

		case 'R':  // 右转
		case 'r':
			if(current_mode == MODE_MANUAL)
				Motor_TurnRight(Get_Speed_Value(sys_status.speed_level));
			break;

		case 'Z':  // 停止
		case 'z':
			Motor_Stop();
			break;

		// 速度等级切换
		case '+':  // 加速
			if(sys_status.speed_level < SPEED_FAST)
			{
				sys_status.speed_level++;
				char buffer[30];
				sprintf(buffer, "SPEED:%d\r\n", sys_status.speed_level);
				UART_SendString(buffer);
			}
			break;

		case '-':  // 减速
			if(sys_status.speed_level > SPEED_SLOW)
			{
				sys_status.speed_level--;
				char buffer[30];
				sprintf(buffer, "SPEED:%d\r\n", sys_status.speed_level);
				UART_SendString(buffer);
			}
			break;

		// 超声波测距（调试命令）
		case 'U':  // 超声波测距
		case 'u':
			Ultrasonic_SendDebugInfo();
			break;

		// PID调试信息
		case 'P':  // PID调试
		case 'p':
		{
			char pid_buffer[100];
			int8_t sensors = Read_IR_Sensors();
			sprintf(pid_buffer, "PID:E=%d,I=%.1f,O=%d,S=0x%02X\r\n",
			        pid.error, pid.integral, pid.output, sensors);
			UART_SendString(pid_buffer);
			break;
		}

		// 查询状态
		case 'Q':  // 查询当前状态
		case 'q':
		{
			char status_buffer[100];
			sprintf(status_buffer, "MODE:%d,DIR:%d,SPEED:%d,STATION:%d\r\n",
			        current_mode, sys_status.direction, sys_status.speed_level, sys_status.station_count);
			UART_SendString(status_buffer);
			break;
		}

		default:
			break;
	}
}

/**
  * @brief  UART接收完成回调函数
  * @param  huart: UART句柄
  * @retval None
  */
void HAL_UART_RxCpltCallback(UART_HandleTypeDef *huart)
{
	if(huart->Instance == USART1)
	{
		uint8_t received_char = bt_rx_buffer[0];
		uint32_t current_time = HAL_GetTick();

		// 超时检测：如果距离上次接收超过500ms，清空缓冲区
		if(current_time - last_rx_time > 500)
		{
			cmd_index = 0;
			memset(cmd_buffer, 0, CMD_BUFFER_SIZE);
		}
		last_rx_time = current_time;

		// 检查是否是回车或换行（命令结束符）
		if(received_char == '\r' || received_char == '\n')
		{
			if(cmd_index > 0)
			{
				// 立即处理多字符命令
				cmd_buffer[cmd_index] = '\0';  // 添加字符串结束符
				Process_Multi_Char_Command();
			}
		}
		// 检查是否是大写字母
		else if(received_char >= 'A' && received_char <= 'Z')
		{
			// 检查是否是单字符运动命令（F/B/L/R/Z/U/P/Q等）
			// 这些命令需要立即执行，不应缓存
			if(received_char == 'F' || received_char == 'B' || received_char == 'L' ||
			   received_char == 'R' || received_char == 'Z' || received_char == 'U' ||
			   received_char == 'P' || received_char == 'Q')
			{
				// 清空多字符命令缓冲区
				cmd_index = 0;
				memset(cmd_buffer, 0, CMD_BUFFER_SIZE);
				// 作为单字符命令立即处理
				bt_command = received_char;
			}
			// 其他大写字母可能是多字符命令的开始（如ST）
			else if(cmd_index == 0)
			{
				// 缓冲区为空，开始新命令
				cmd_buffer[cmd_index++] = received_char;
			}
			else if(cmd_index < CMD_BUFFER_SIZE - 1)
			{
				// 缓冲区已有内容，继续添加
				cmd_buffer[cmd_index++] = received_char;
			}
		}
		// 检查是否是数字（可能是多字符命令的参数）
		else if(received_char >= '0' && received_char <= '9')
		{
			// 如果缓冲区有内容（正在接收多字符命令），添加数字
			if(cmd_index > 0 && cmd_index < CMD_BUFFER_SIZE - 1)
			{
				cmd_buffer[cmd_index++] = received_char;
			}
			// 如果缓冲区为空，作为单字符命令处理
			else if(cmd_index == 0)
			{
				bt_command = received_char;
			}
		}
		// 其他单字符命令（F/B/L/R/S/+/-/U/Q等）
		else
		{
			// 清空多字符命令缓冲区
			cmd_index = 0;
			memset(cmd_buffer, 0, CMD_BUFFER_SIZE);

			// 保存单字符命令
			bt_command = received_char;
		}

		// 重新启动接收
		HAL_UART_Receive_IT(&huart1, bt_rx_buffer, 1);
	}
}

/* USER CODE END 4 */

void Error_Handler(void)
{
  __disable_irq();
  while (1)
  {
  }
}

/************************ (C) COPYRIGHT STMicroelectronics *****END OF FILE****/
